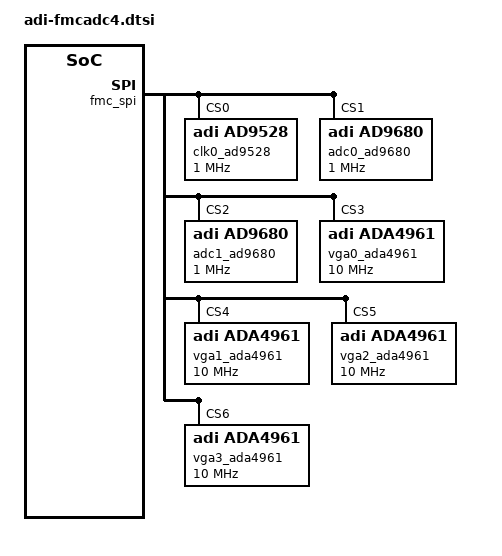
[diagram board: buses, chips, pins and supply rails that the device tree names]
#include <dt-bindings/iio/frequency/ad9528.h>

&fmc_spi {
	clk0_ad9528: ad9528@0 {
		compatible = "adi,ad9528";
		reg = <0>;

		spi-cpol;
		spi-cpha;
		spi-max-frequency = <1000000>;
		adi,spi-3wire-enable;

		#address-cells = <1>;
		#size-cells = <0>;
		#clock-cells = <1>;

		clock-output-names = "ad9528_out0", "ad9528_out1", "ad9528_out2", "ad9528_out3", "ad9528_out4", "ad9528_out5", "ad9528_out6", "ad9528_out7", "ad9528_out8", "ad9528_out9", "ad9528_out10", "ad9528_out11", "ad9528_out12", "ad9528_out13";

		adi,vcxo-freq = <80000000>;

		/* PLL1 config */
		adi,ref-mode = <REF_MODE_STAY_ON_REFB>;
		adi,refa-diff-rcv-enable;
		adi,refa-r-div = <1>;
		adi,refb-r-div = <1>;
		adi,pll1-feedback-src-vcxo;
		adi,pll1-feedback-div = <8>;
		adi,osc-in-cmos-neg-inp-enable;
		adi,pll1-charge-pump-current-nA = <10000>;

		/* PLL2 config */
		adi,pll2-vco-div-m1 = <4>;
		adi,pll2-r1-div = <2>;
		adi,pll2-n2-div = <25>;
		adi,pll2-charge-pump-current-nA = <805000>;

		/* SYSREF config */
		adi,sysref-src = <SYSREF_SRC_INTERNAL>;
		adi,sysref-k-div = <20>;

		adi,rpole2 = <RPOLE2_900_OHM>;
		adi,rzero = <RZERO_3250_OHM>;
		adi,cpole1 = <CPOLE1_16_PF>;

		ad9528_0_c1: channel@1 {
			reg = <1>;
			adi,extended-name = "FPGA";
			adi,driver-mode = <DRIVER_MODE_LVDS>;
			adi,divider-phase = <0>;
			adi,channel-divider = <2>;
			adi,signal-source = <SOURCE_VCO>;
		};

		ad9528_0_c2: channel@2 {
			reg = <2>;
			adi,extended-name = "ADC2-sysref";
			adi,driver-mode = <DRIVER_MODE_LVDS>;
			adi,divider-phase = <0>;
			adi,channel-divider = <32>;
			adi,signal-source = <SOURCE_SYSREF_VCO>;
		};

		ad9528_0_c3: channel@3 {
			reg = <3>;
			adi,extended-name = "ADC2";
			adi,driver-mode = <DRIVER_MODE_LVDS>;
			adi,divider-phase = <0>;
			adi,channel-divider = <1>;
			adi,signal-source = <SOURCE_VCO>;
		};

		ad9528_0_c8: channel@8 {
			reg = <8>;
			adi,extended-name = "ADC1";
			adi,driver-mode = <DRIVER_MODE_LVDS>;
			adi,divider-phase = <0>;
			adi,channel-divider = <1>;
			adi,signal-source = <SOURCE_VCO>;
		};

		ad9528_0_c9: channel@9 {
			reg = <9>;
			adi,extended-name = "ADC1-sysref";
			adi,driver-mode = <DRIVER_MODE_LVDS>;
			adi,divider-phase = <0>;
			adi,channel-divider = <32>;
			adi,signal-source = <SOURCE_SYSREF_VCO>;
		};

		ad9528_0_c13: channel@13 {
			reg = <13>;
			adi,extended-name = "FPGA-sysref";
			adi,driver-mode = <DRIVER_MODE_LVDS>;
			adi,divider-phase = <0>;
			adi,channel-divider = <32>;
			adi,signal-source = <SOURCE_SYSREF_VCO>;
		};
	};

	adc0_ad9680: ad9680@1 {
		compatible = "adi,ad9680";
		reg = <1>;

		spi-max-frequency = <1000000>;
		spi-cpol;
		spi-cpha;

		adi,master-slave-2x-quirk;
		clocks = <&axi_ad9680_jesd>, <&clk0_ad9528 8>, <&clk0_ad9528 9>;
		clock-names = "jesd_adc_clk", "adc_clk", "adc_sysref";
	};

	adc1_ad9680: ad9680@2 {
		compatible = "adi,ad9680";
		reg = <2>;

		spi-max-frequency = <1000000>;
		spi-cpol;
		spi-cpha;

		clocks = <&axi_ad9680_jesd>, <&clk0_ad9528 3>, <&clk0_ad9528 2>;
		clock-names = "jesd_adc_clk", "adc_clk", "adc_sysref";
	};

	vga0_ada4961: ada4961-A@3 {
		compatible = "adi,ada4961";
		reg = <3>;

		spi-max-frequency = <10000000>;
	};

	vga1_ada4961: ada4961-B@4 {
		compatible = "adi,ada4961";
		reg = <4>;

		spi-max-frequency = <10000000>;
	};

	vga2_ada4961: ada4961-C@5 {
		compatible = "adi,ada4961";
		reg = <5>;

		spi-max-frequency = <10000000>;
	};

	vga3_ada4961: ada4961-D@6 {
		compatible = "adi,ada4961";
		reg = <6>;

		spi-max-frequency = <10000000>;
	};
};
